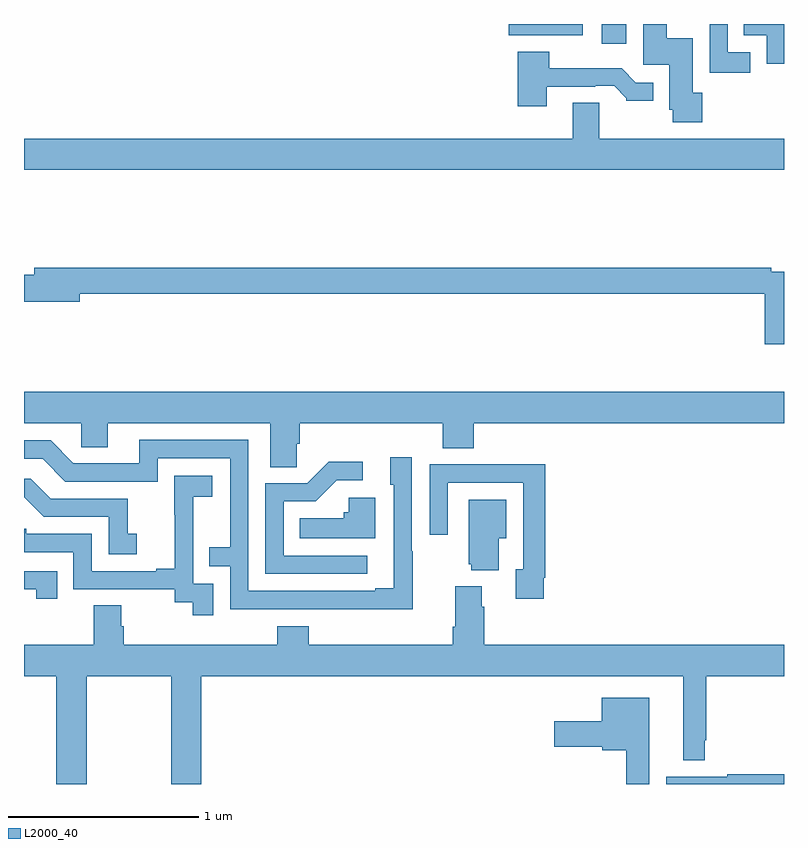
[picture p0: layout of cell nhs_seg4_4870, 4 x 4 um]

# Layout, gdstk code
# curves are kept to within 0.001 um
import gdstk
lib = gdstk.Library(unit=1e-6, precision=1e-09)
def R(c, l, rs):  # rectangles x0, y0, x1, y1
    for r in rs: c.add(gdstk.rectangle(r[:2], r[2:], *l))
def P(c, l, *ps):  # polygons
    for p in ps: c.add(gdstk.Polygon(p, *l))
L2000_40 = (2000, 40)

nhs_seg4_4870 = lib.new_cell('nhs_seg4_4870')
R(nhs_seg4_4870, L2000_40, [(376.04,818.796,376.171,818.9), (375.552,818.84,375.94,818.9)])
P(nhs_seg4_4870, L2000_40, [(376.571,818.538),(376.519,818.538),(376.519,818.824),(376.384,818.824),(376.384,818.9),(376.259,818.9),(376.259,818.685),(376.397,818.685),(376.397,818.448),(376.414,818.448),(376.414,818.382),(376.571,818.382)],
  [(376.822,818.751),(376.704,818.751),(376.704,818.9),(376.608,818.9),(376.608,818.643),(376.822,818.643)],
  [(377,818.9),(376.789,818.9),(376.789,818.84),(376.91,818.84),(376.91,818.69),(377,818.69)],
  [(375.751,818.571),(376.007,818.571),(376.007,818.574),(376.106,818.574),(376.17,818.51),(376.17,818.495),(376.312,818.495),(376.312,818.592),(376.221,818.592),(376.145,818.668),(375.764,818.668),(375.764,818.755),(375.599,818.755),(375.599,818.466),(375.751,818.466)],
  [(377,818.296),(376.027,818.296),(376.027,818.486),(375.887,818.486),(375.887,818.296),(373,818.296),(373,818.132),(377,818.132)],
  [(377,817.596),(376.934,817.596),(376.934,817.616),(373.055,817.616),(373.055,817.58),(373,817.58),(373,817.438),(373.294,817.438),(373.294,817.48),(376.898,817.48),(376.898,817.215),(377,817.215)],
  [(374.436,816.691),(374.45,816.691),(374.45,816.8),(375.203,816.8),(375.203,816.667),(375.368,816.667),(375.368,816.8),(377,816.8),(377,816.964),(373,816.964),(373,816.8),(373.302,816.8),(373.302,816.673),(373.441,816.673),(373.441,816.8),(374.297,816.8),(374.297,816.568),(374.436,816.568)],
  [(375.045,816.125),(375.042,816.125),(375.042,816.619),(374.927,816.619),(374.927,816.474),(374.946,816.474),(374.946,815.929),(374.849,815.929),(374.849,815.916),(374.181,815.916),(374.181,816.711),(373.607,816.711),(373.607,816.588),(373.26,816.588),(373.14,816.708),(373,816.708),(373,816.612),(373.098,816.612),(373.218,816.492),(373.704,816.492),(373.704,816.615),(374.085,816.615),(374.085,816.146),(373.975,816.146),(373.975,816.045),(374.085,816.045),(374.085,815.82),(375.045,815.819)],
  [(374.806,816.102),(374.367,816.102),(374.367,816.387),(374.536,816.387),(374.647,816.498),(374.782,816.498),(374.782,816.596),(374.603,816.596),(374.49,816.483),(374.271,816.483),(374.271,816.006),(374.806,816.006)],
  [(375.736,815.986),(375.743,815.986),(375.743,816.584),(375.451,816.584),(375.451,816.582),(375.135,816.582),(375.135,816.213),(375.231,816.213),(375.231,816.486),(375.627,816.486),(375.627,816.03),(375.587,816.03),(375.587,815.874),(375.736,815.874)],
  [(373.995,815.955),(373.89,815.955),(373.89,816.185),(373.892,816.185),(373.892,816.413),(373.99,816.413),(373.99,816.523),(373.792,816.523),(373.792,816.317),(373.793,816.317),(373.793,816.034),(373.697,816.034),(373.697,816.021),(373.356,816.021),(373.356,816.216),(373.011,816.216),(373.011,816.243),(373,816.243),(373,816.12),(373.26,816.12),(373.26,815.925),(373.794,815.925),(373.794,815.857),(373.887,815.857),(373.887,815.787),(373.995,815.787)],
  [(373.594,816.217),(373.545,816.217),(373.545,816.402),(373.141,816.402),(373.036,816.507),(373,816.507),(373,816.41),(373.104,816.306),(373.446,816.306),(373.446,816.108),(373.594,816.108)],
  [(374.848,816.406),(374.709,816.406),(374.709,816.33),(374.683,816.33),(374.683,816.298),(374.452,816.298),(374.452,816.194),(374.848,816.194)],
  [(375.499,816.194),(375.538,816.194),(375.538,816.397),(375.341,816.397),(375.341,816.057),(375.353,816.057),(375.353,816.026),(375.499,816.026)],
  [(373.175,816.021),(373,816.021),(373,815.925),(373.064,815.925),(373.064,815.874),(373.175,815.874)],
  [(373.329,815.468),(373.774,815.468),(373.774,814.9),(373.934,814.9),(373.934,815.468),(376.469,815.468),(376.469,815.024),(376.584,815.024),(376.584,815.131),(376.591,815.131),(376.591,815.468),(377,815.468),(377,815.632),(375.422,815.632),(375.422,815.834),(375.409,815.834),(375.409,815.941),(375.269,815.941),(375.269,815.728),(375.257,815.728),(375.257,815.632),(374.498,815.632),(374.498,815.731),(374.333,815.731),(374.333,815.632),(373.526,815.632),(373.526,815.73),(373.513,815.73),(373.513,815.84),(373.366,815.84),(373.366,815.632),(373,815.632),(373,815.468),(373.169,815.468),(373.169,814.9),(373.329,814.9)],
  [(376.291,815.353),(376.04,815.353),(376.04,815.23),(375.792,815.23),(375.792,815.096),(376.044,815.096),(376.044,815.078),(376.17,815.078),(376.17,814.9),(376.291,814.9)],
  [(377,814.952),(376.702,814.952),(376.702,814.939),(376.379,814.939),(376.379,814.9),(377,814.9)])

lib.write_gds('nhs_seg4_4870.gds')
